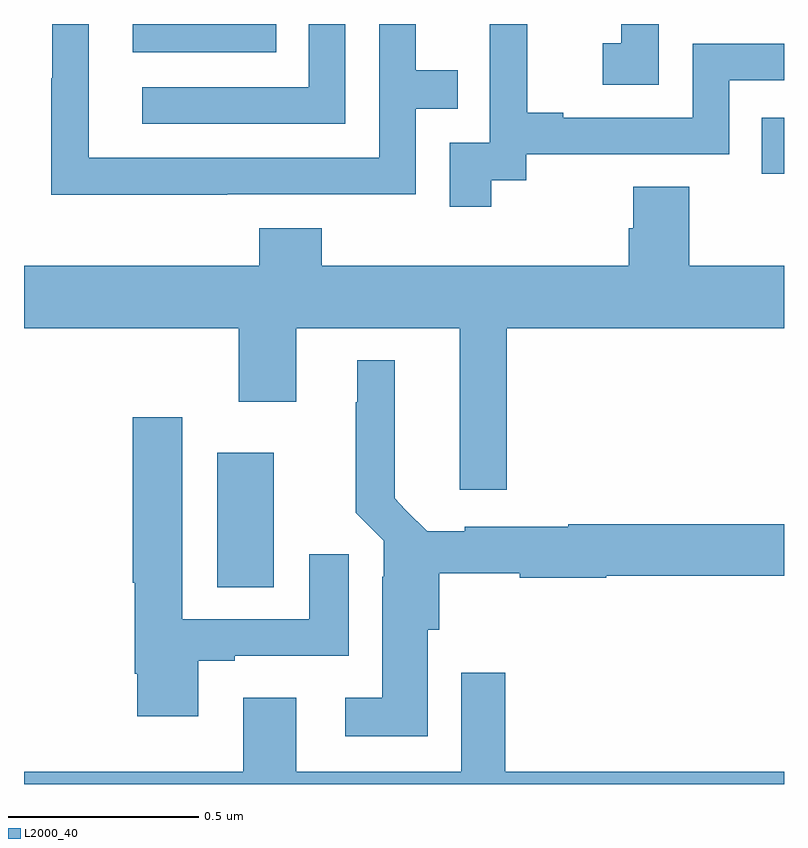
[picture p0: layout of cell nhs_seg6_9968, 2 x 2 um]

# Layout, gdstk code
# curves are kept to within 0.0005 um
import gdstk
lib = gdstk.Library(unit=1e-6, precision=1e-09)
def R(c, l, rs):  # rectangles x0, y0, x1, y1
    for r in rs: c.add(gdstk.rectangle(r[:2], r[2:], *l))
def P(c, l, *ps):  # polygons
    for p in ps: c.add(gdstk.Polygon(p, *l))
L2000_40 = (2000, 40)

nhs_seg6_9968 = lib.new_cell('nhs_seg6_9968')
R(nhs_seg6_9968, L2000_40, [(241.508,916.018,241.657,916.372), (242.941,917.106,243,917.253), (241.286,917.426,241.664,917.5)])
P(nhs_seg6_9968, L2000_40, [(242.67,917.5),(242.572,917.5),(242.572,917.449),(242.523,917.449),(242.523,917.34),(242.67,917.34)],
  [(241.535,917.052),(242.031,917.052),(242.031,917.277),(242.141,917.277),(242.141,917.378),(242.031,917.378),(242.031,917.5),(241.935,917.5),(241.935,917.148),(241.17,917.148),(241.17,917.5),(241.074,917.5),(241.074,917.357),(241.072,917.357),(241.072,917.051),(241.535,917.051)],
  [(242.23,917.089),(242.322,917.089),(242.322,917.157),(242.856,917.157),(242.856,917.352),(243,917.352),(243,917.448),(242.76,917.448),(242.76,917.253),(242.419,917.253),(242.419,917.266),(242.324,917.266),(242.324,917.5),(242.225,917.5),(242.225,917.417),(242.226,917.417),(242.226,917.187),(242.121,917.187),(242.121,917.019),(242.23,917.019)],
  [(241.845,917.5),(241.749,917.5),(241.749,917.334),(241.311,917.334),(241.311,917.238),(241.845,917.238)],
  [(242.27,916.7),(243,916.7),(243,916.864),(242.751,916.864),(242.751,917.072),(242.603,917.072),(242.603,916.962),(242.591,916.962),(242.591,916.864),(241.784,916.864),(241.784,916.963),(241.619,916.963),(241.619,916.864),(241,916.864),(241,916.7),(241.565,916.7),(241.565,916.506),(241.717,916.506),(241.717,916.7),(242.147,916.7),(242.147,916.275),(242.27,916.275)],
  [(242.062,915.906),(242.093,915.906),(242.093,916.055),(242.304,916.055),(242.304,916.043),(242.532,916.043),(242.532,916.048),(243,916.048),(243,916.184),(242.432,916.184),(242.432,916.177),(242.16,916.177),(242.16,916.165),(242.061,916.165),(241.975,916.252),(241.975,916.615),(241.877,916.615),(241.877,916.505),(241.873,916.505),(241.873,916.214),(241.947,916.14),(241.947,916.046),(241.943,916.046),(241.943,915.727),(241.845,915.727),(241.845,915.626),(242.062,915.626)],
  [(241.459,915.825),(241.555,915.825),(241.555,915.837),(241.855,915.837),(241.855,916.105),(241.751,916.105),(241.751,915.933),(241.417,915.933),(241.417,916.465),(241.286,916.465),(241.286,916.03),(241.291,916.03),(241.291,915.79),(241.298,915.79),(241.298,915.678),(241.459,915.678)],
  [(243,915.532),(242.267,915.532),(242.267,915.793),(242.151,915.793),(242.151,915.532),(241.717,915.532),(241.717,915.727),(241.577,915.727),(241.577,915.532),(241,915.532),(241,915.5),(243,915.5)])

lib.write_gds('nhs_seg6_9968.gds')
